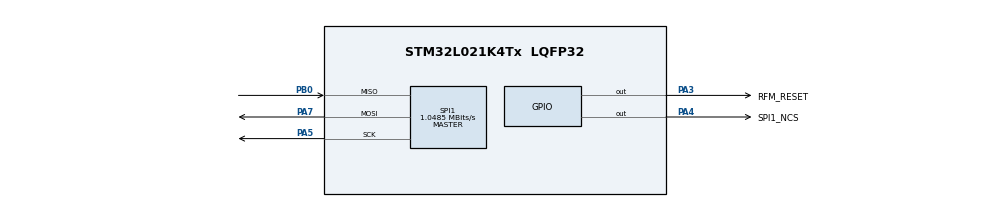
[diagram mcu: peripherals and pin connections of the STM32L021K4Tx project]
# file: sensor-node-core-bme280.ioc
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Mcu.Family=STM32L0
Mcu.Name=STM32L021K4Tx
Mcu.Package=LQFP32
PA13.Mode=Serial_Wire
PA13.Signal=SYS_SWDIO
PA14.Mode=Serial_Wire
PA14.Signal=SYS_SWCLK
PA3.GPIO_Label=RFM_RESET
PA3.Signal=GPIO_Output
PA4.GPIO_Label=SPI1_NCS
PA4.Signal=GPIO_Output
PA5.Mode=Full_Duplex_Master
PA5.Signal=SPI1_SCK
PA7.Mode=Full_Duplex_Master
PA7.Signal=SPI1_MOSI
PB0.Mode=Full_Duplex_Master
PB0.Signal=SPI1_MISO
ProjectManager.HeapSize=0x200
ProjectManager.StackSize=0x400
ProjectManager.TargetToolchain=Makefile
RCC.AHBFreq_Value=2097000
RCC.APB1Freq_Value=2097000
RCC.APB1TimFreq_Value=2097000
RCC.APB2Freq_Value=2097000
RCC.APB2TimFreq_Value=2097000
RCC.HSE_VALUE=8000000
RCC.HSI16_VALUE=16000000
RCC.HSI_VALUE=16000000
RCC.LSE_VALUE=32768
RCC.MSI_VALUE=2097000
RCC.SYSCLKFreq_VALUE=2097000
RCC.VCOOutputFreq_Value=48000000
SPI1.CalculateBaudRate=1.0485 MBits/s
SPI1.Direction=SPI_DIRECTION_2LINES
SPI1.Mode=SPI_MODE_MASTER
SPI1.VirtualType=VM_MASTER
board=custom

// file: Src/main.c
/* USER CODE BEGIN Header */
/**
  ******************************************************************************
  * @file           : main.c
  * @brief          : Main program body
  ******************************************************************************
  ** This notice applies to any and all portions of this file
  * that are not between comment pairs USER CODE BEGIN and
  * USER CODE END. Other portions of this file, whether
  * inserted by the user or by software development tools
  * are owned by their respective copyright owners.
  *
  * COPYRIGHT(c) 2018 STMicroelectronics
  *
  * Redistribution and use in source and binary forms, with or without modification,
  * are permitted provided that the following conditions are met:
  *   1. Redistributions of source code must retain the above copyright notice,
  *      this list of conditions and the following disclaimer.
  *   2. Redistributions in binary form must reproduce the above copyright notice,
  *      this list of conditions and the following disclaimer in the documentation
  *      and/or other materials provided with the distribution.
  *   3. Neither the name of STMicroelectronics nor the names of its contributors
  *      may be used to endorse or promote products derived from this software
  *      without specific prior written permission.
  *
  * THIS SOFTWARE IS PROVIDED BY THE COPYRIGHT HOLDERS AND CONTRIBUTORS "AS IS"
  * AND ANY EXPRESS OR IMPLIED WARRANTIES, INCLUDING, BUT NOT LIMITED TO, THE
  * IMPLIED WARRANTIES OF MERCHANTABILITY AND FITNESS FOR A PARTICULAR PURPOSE ARE
  * DISCLAIMED. IN NO EVENT SHALL THE COPYRIGHT HOLDER OR CONTRIBUTORS BE LIABLE
  * FOR ANY DIRECT, INDIRECT, INCIDENTAL, SPECIAL, EXEMPLARY, OR CONSEQUENTIAL
  * DAMAGES (INCLUDING, BUT NOT LIMITED TO, PROCUREMENT OF SUBSTITUTE GOODS OR
  * SERVICES; LOSS OF USE, DATA, OR PROFITS; OR BUSINESS INTERRUPTION) HOWEVER
  * CAUSED AND ON ANY THEORY OF LIABILITY, WHETHER IN CONTRACT, STRICT LIABILITY,
  * OR TORT (INCLUDING NEGLIGENCE OR OTHERWISE) ARISING IN ANY WAY OUT OF THE USE
  * OF THIS SOFTWARE, EVEN IF ADVISED OF THE POSSIBILITY OF SUCH DAMAGE.
  *
  ******************************************************************************
  */
/* USER CODE END Header */

#include "main.h"
#include "spi.h"
#include "gpio.h"

void SystemClock_Config(void);

int main(void)
{

  /* MCU Configuration--------------------------------------------------------*/

  /* Reset of all peripherals, Initializes the Flash interface and the Systick. */

  LL_APB2_GRP1_EnableClock(LL_APB2_GRP1_PERIPH_SYSCFG);
  LL_APB1_GRP1_EnableClock(LL_APB1_GRP1_PERIPH_PWR);

  /* System interrupt init*/

  /* Configure the system clock */
  SystemClock_Config();

  /* Initialize all configured peripherals */
  MX_GPIO_Init();
  MX_SPI1_Init();
  /* USER CODE BEGIN 2 */
  rfm9x_t rfm98;
  RFM98Glue_Init(&rfm98);
  RFM9X_Init(&rfm98);
  uint8_t syncWord[] = {0x46, 0xA5, 0xE3};
  RFM9X_SetSyncWord(&rfm98, syncWord, 3);
  uint8_t power = 0x0f;
  RFM9X_SetPower(&rfm98, &power);
  rfm9x_flags_t flags;
  rfm9x_mode_t setMode = RFM9X_MODE_TRANSMIT;
  RFM9X_SetMode(&rfm98, &setMode);
  /* USER CODE END 2 */

  /* Infinite loop */
  while (1)
  {

    /* USER CODE BEGIN 3 */
    uint8_t text[] = "Hello World!";
    RFM9X_WriteMessage(&rfm98, text, 12);
    LL_mDelay(10);

    RFM9X_GetFlags(&rfm98, &flags);

    while(!(flags & RFM9X_FLAG_PACKET_SENT)) {
      LL_mDelay(1);
      RFM9X_GetFlags(&rfm98, &flags);
    }

    LL_mDelay(1000);
  }
  /* USER CODE END 3 */
}

void SystemClock_Config(void)
{
  LL_FLASH_SetLatency(LL_FLASH_LATENCY_0);

  if(LL_FLASH_GetLatency() != LL_FLASH_LATENCY_0)
  {
  Error_Handler();
  }
  LL_PWR_SetRegulVoltageScaling(LL_PWR_REGU_VOLTAGE_SCALE1);
  LL_RCC_MSI_Enable();

   /* Wait till MSI is ready */
  while(LL_RCC_MSI_IsReady() != 1)
  {

  }
  LL_RCC_MSI_SetRange(LL_RCC_MSIRANGE_5);
  LL_RCC_MSI_SetCalibTrimming(0);
  LL_RCC_SetAHBPrescaler(LL_RCC_SYSCLK_DIV_1);
  LL_RCC_SetAPB1Prescaler(LL_RCC_APB1_DIV_1);
  LL_RCC_SetAPB2Prescaler(LL_RCC_APB2_DIV_1);
  LL_RCC_SetSysClkSource(LL_RCC_SYS_CLKSOURCE_MSI);

   /* Wait till System clock is ready */
  while(LL_RCC_GetSysClkSource() != LL_RCC_SYS_CLKSOURCE_STATUS_MSI)
  {

  }
  LL_Init1msTick(2097000);
  LL_SYSTICK_SetClkSource(LL_SYSTICK_CLKSOURCE_HCLK);
  LL_SetSystemCoreClock(2097000);
}

void Error_Handler(void)
{
}

/************************ (C) COPYRIGHT STMicroelectronics *****END OF FILE****/
